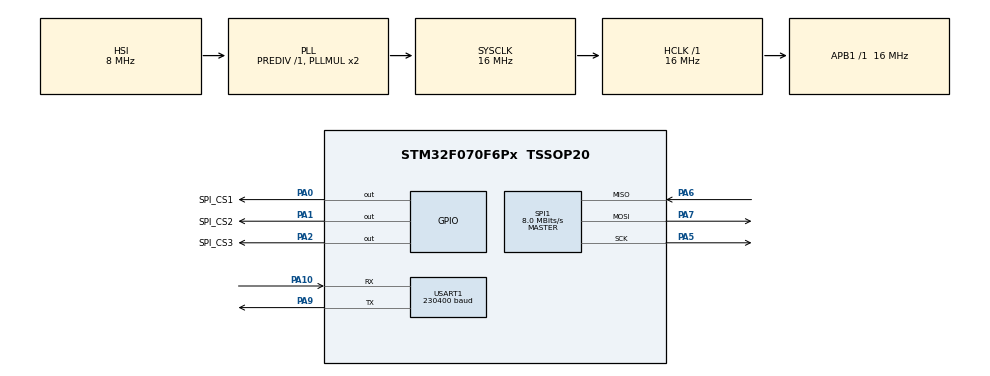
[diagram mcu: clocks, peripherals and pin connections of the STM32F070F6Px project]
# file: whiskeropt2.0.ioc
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Mcu.Family=STM32F0
Mcu.Name=STM32F070F6Px
Mcu.Package=TSSOP20
PA0.GPIO_Label=SPI_CS1
PA0.GPIO_PuPd=GPIO_PULLUP
PA0.PinState=GPIO_PIN_SET
PA0.Signal=GPIO_Output
PA1.GPIO_Label=SPI_CS2
PA1.GPIO_PuPd=GPIO_PULLUP
PA1.PinState=GPIO_PIN_SET
PA1.Signal=GPIO_Output
PA10.Mode=Asynchronous
PA10.Signal=USART1_RX
PA2.GPIO_Label=SPI_CS3
PA2.GPIO_PuPd=GPIO_PULLUP
PA2.PinState=GPIO_PIN_SET
PA2.Signal=GPIO_Output
PA5.Mode=Full_Duplex_Master
PA5.Signal=SPI1_SCK
PA6.Mode=Full_Duplex_Master
PA6.Signal=SPI1_MISO
PA7.Mode=Full_Duplex_Master
PA7.Signal=SPI1_MOSI
PA9.Mode=Asynchronous
PA9.Signal=USART1_TX
ProjectManager.HeapSize=0x200
ProjectManager.StackSize=0x400
ProjectManager.TargetToolchain=STM32CubeIDE
RCC.AHBFreq_Value=16000000
RCC.APB1Freq_Value=16000000
RCC.APB1TimFreq_Value=16000000
RCC.HCLKFreq_Value=16000000
RCC.SYSCLKFreq_VALUE=16000000
RCC.SYSCLKSource=RCC_SYSCLKSOURCE_PLLCLK
SPI1.BaudRatePrescaler=SPI_BAUDRATEPRESCALER_2
SPI1.CLKPhase=SPI_PHASE_2EDGE
SPI1.CLKPolarity=SPI_POLARITY_HIGH
SPI1.CRCCalculation=SPI_CRCCALCULATION_DISABLE
SPI1.CalculateBaudRate=8.0 MBits/s
SPI1.DataSize=SPI_DATASIZE_8BIT
SPI1.Direction=SPI_DIRECTION_2LINES
SPI1.Mode=SPI_MODE_MASTER
SPI1.VirtualType=VM_MASTER
USART1.BaudRate=230400
USART1.VirtualMode=VM_ASYNC
board=custom

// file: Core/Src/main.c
/* USER CODE BEGIN Header */
/**
  ******************************************************************************
  * @file           : main.c
  * @brief          : Main program body
  ******************************************************************************
  * @attention
  *
  * Copyright (c) 2023 STMicroelectronics.
  * All rights reserved.
  *
  * This software is licensed under terms that can be found in the LICENSE file
  * in the root directory of this software component.
  * If no LICENSE file comes with this software, it is provided AS-IS.
  *
  ******************************************************************************
  */
/* USER CODE END Header */
#include "main.h"
#include "spi.h"
#include "usart.h"
#include "gpio.h"

/* USER CODE BEGIN PV */
extern void Uart1_printf(const char *format,...);

/* USER CODE END PV */

void SystemClock_Config(void);

int main(void)
{
  /* USER CODE BEGIN 1 */
  uint8_t BMP390_ID1,BMP390_ID2,BMP390_ID3,r1,r2;
  int Pressure_Para[11],Temperature_Para[3];
  /* USER CODE END 1 */

  /* MCU Configuration--------------------------------------------------------*/

  /* Reset of all peripherals, Initializes the Flash interface and the Systick. */
  HAL_Init();

  /* Configure the system clock */
  SystemClock_Config();

  /* Initialize all configured peripherals */
  MX_GPIO_Init();
  MX_SPI1_Init();
  MX_USART1_UART_Init();
  /* USER CODE BEGIN 2 */
  HAL_Delay(10000);
  HAL_GPIO_WritePin(SPI_CS1_GPIO_Port, SPI_CS1_Pin, GPIO_PIN_SET);
  HAL_GPIO_WritePin(SPI_CS2_GPIO_Port, SPI_CS2_Pin, GPIO_PIN_SET);
  HAL_GPIO_WritePin(SPI_CS3_GPIO_Port, SPI_CS3_Pin, GPIO_PIN_SET);

  BMP390_ID1 = BMP390_Init(SPI_CS1_Pin);
  BMP390_ID2 = BMP390_Init(SPI_CS2_Pin);
  BMP390_ID3 = BMP390_Init(SPI_CS3_Pin);
  r1 = read8(PWR_CTRL_Addr,SPI_CS1_Pin);
  r2 = read8(CMD_Addr,SPI_CS1_Pin);
  Parameter_Reading(Pressure_Para,Temperature_Para);
  Uart1_printf("chipid1= 0x%x,chipid2= 0x%x,chipid3= 0x%x,r1= 0x%x,r2= 0x%x\r\n",BMP390_ID1,BMP390_ID2,BMP390_ID3,r1,r2);

  /* Infinite loop */
  /* USER CODE BEGIN WHILE */
  while (1)
  {
	  uint32_t Pressure1 = 0,Pressure2 = 1,Pressure3 = 2;
	  uint32_t Temperature1 = 0,Temperature2 = 1,Temperature3 = 2;
//	  uint32_t Pressure1 = 0;
//	  uint32_t Temperature1 = 0;
	  double Correcting_Temp1,Correcting_Press1,Correcting_Temp2,Correcting_Press2,Correcting_Temp3,Correcting_Press3;
//	  double Correcting_Temp1,Correcting_Press1;
	  Pressure1 = read32(BMP390_REGISTER_PRESSUREDATA,SPI_CS1_Pin);
	  Temperature1 = read32(BMP390_REGISTER_TEMPDATA,SPI_CS1_Pin);
	  Pressure2 = read32(BMP390_REGISTER_PRESSUREDATA,SPI_CS2_Pin);
	  Temperature2 = read32(BMP390_REGISTER_TEMPDATA,SPI_CS2_Pin);
	  Pressure3 = read32(BMP390_REGISTER_PRESSUREDATA,SPI_CS3_Pin);
	  Temperature3 = read32(BMP390_REGISTER_TEMPDATA,SPI_CS3_Pin);
//	  Uart1_printf("T1: %d; P1: %d\r\n",Temperature1, Pressure1);
//	  Uart1_printf("T2: %d; P2: %d\r\n",Temperature2, Pressure2);
//	  Uart1_printf("T3: %d; P3: %d\r\n",Temperature3, Pressure3);

	  Correcting_Temp1 = Correcting_Temperature(Temperature1,Temperature_Para);
	  Correcting_Press1 = Correcting_Pressure(Pressure1,Pressure_Para,Correcting_Temp1);
	  Correcting_Temp2 = Correcting_Temperature(Temperature2,Temperature_Para);
	  Correcting_Press2 = Correcting_Pressure(Pressure2,Pressure_Para,Correcting_Temp2);
	  Correcting_Temp3 = Correcting_Temperature(Temperature3,Temperature_Para);
	  Correcting_Press3 = Correcting_Pressure(Pressure3,Pressure_Para,Correcting_Temp3);
//	  Uart1_printf("{T:%d,%d,%d\n}",Temperature1,Temperature2,Temperature3);
//	  Uart1_printf("{T_C:%f,%f,%f\n}",Correcting_Temp1,Correcting_Temp2,Correcting_Temp3);
//	  Uart1_printf("{P:%d,%d,%d\n}",Pressure1,Pressure2,Pressure3);
	  Uart1_printf("{P_C:%f,%f,%f\n}",Correcting_Press1,Correcting_Press2,Correcting_Press3);

	  /* TEST UART*/
	  //HAL_UART_Transmit(&huart1,(uint8_t*) "10",2,0xFFFF);

	  /*

	  tx_data[0] = 0x80;
	  HAL_GPIO_WritePin(SPI_CS1_GPIO_Port, SPI_CS1_Pin, GPIO_PIN_RESET);
	  HAL_SPI_TransmitReceive(&hspi1, tx_data, rx_data, 3, 0xFFFF);
	  HAL_GPIO_WritePin(SPI_CS1_GPIO_Port, SPI_CS1_Pin, GPIO_PIN_SET);
	  P = readPressure();
	  Uart1_printf("chipid= 0x%x; P: %.2f\r\n",rx_data[2], P);
	  HAL_Delay(100);

	  HAL_GPIO_WritePin(SPI_CS2_GPIO_Port, SPI_CS2_Pin, GPIO_PIN_RESET);
	  HAL_SPI_TransmitReceive(&hspi1, tx_data, rx_data, 3, 0xFFFF);
	  HAL_GPIO_WritePin(SPI_CS2_GPIO_Port, SPI_CS2_Pin, GPIO_PIN_SET);
	  //Uart1_printf("SPI communication error: %s\r\n", Status);
	  P = readPressure();
	  Uart1_printf("chipid= 0x%x; P: %.2f\r\n",rx_data[2], P);
	  HAL_Delay(100);

	  HAL_GPIO_WritePin(SPI_CS3_GPIO_Port, SPI_CS3_Pin, GPIO_PIN_RESET);
	  HAL_SPI_TransmitReceive(&hspi1, tx_data, rx_data, 3, 0xFFFF);
	  HAL_GPIO_WritePin(SPI_CS3_GPIO_Port, SPI_CS3_Pin, GPIO_PIN_SET);
	  P = readPressure();
	  Uart1_printf("chipid= 0x%x; P: %.2f\r\n",rx_data[2], P);
	  HAL_Delay(1000);
	  */

	  //Uart1_printf("spi: 0x%x\r\n",0x58);
    /* USER CODE END WHILE */

    /* USER CODE BEGIN 3 */

		//T = readTemperature();
		//P = readPressure();
		//Uart1_printf("T = %.2f; P = %.2f\r\n",T,P);
		//HAL_Delay(100);
  }
  /* USER CODE END 3 */
}

void SystemClock_Config(void)
{
  RCC_OscInitTypeDef RCC_OscInitStruct = {0};
  RCC_ClkInitTypeDef RCC_ClkInitStruct = {0};
  RCC_PeriphCLKInitTypeDef PeriphClkInit = {0};

  /** Initializes the RCC Oscillators according to the specified parameters
  * in the RCC_OscInitTypeDef structure.
  */
  RCC_OscInitStruct.OscillatorType = RCC_OSCILLATORTYPE_HSI;
  RCC_OscInitStruct.HSIState = RCC_HSI_ON;
  RCC_OscInitStruct.HSICalibrationValue = RCC_HSICALIBRATION_DEFAULT;
  RCC_OscInitStruct.PLL.PLLState = RCC_PLL_ON;
  RCC_OscInitStruct.PLL.PLLSource = RCC_PLLSOURCE_HSI;
  RCC_OscInitStruct.PLL.PLLMUL = RCC_PLL_MUL2;
  RCC_OscInitStruct.PLL.PREDIV = RCC_PREDIV_DIV1;
  if (HAL_RCC_OscConfig(&RCC_OscInitStruct) != HAL_OK)
  {
    Error_Handler();
  }

  /** Initializes the CPU, AHB and APB buses clocks
  */
  RCC_ClkInitStruct.ClockType = RCC_CLOCKTYPE_HCLK|RCC_CLOCKTYPE_SYSCLK
                              |RCC_CLOCKTYPE_PCLK1;
  RCC_ClkInitStruct.SYSCLKSource = RCC_SYSCLKSOURCE_PLLCLK;
  RCC_ClkInitStruct.AHBCLKDivider = RCC_SYSCLK_DIV1;
  RCC_ClkInitStruct.APB1CLKDivider = RCC_HCLK_DIV1;

  if (HAL_RCC_ClockConfig(&RCC_ClkInitStruct, FLASH_LATENCY_0) != HAL_OK)
  {
    Error_Handler();
  }
  PeriphClkInit.PeriphClockSelection = RCC_PERIPHCLK_USART1;
  PeriphClkInit.Usart1ClockSelection = RCC_USART1CLKSOURCE_PCLK1;
  if (HAL_RCCEx_PeriphCLKConfig(&PeriphClkInit) != HAL_OK)
  {
    Error_Handler();
  }
}

void Error_Handler(void)
{
  __disable_irq();
  while (1)
  {
  }
}
